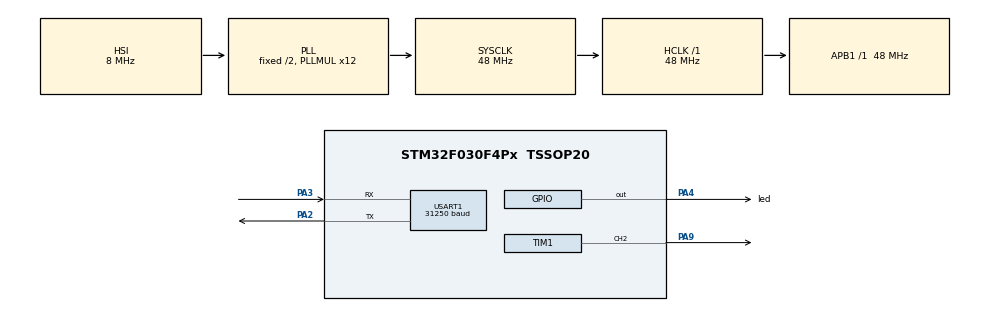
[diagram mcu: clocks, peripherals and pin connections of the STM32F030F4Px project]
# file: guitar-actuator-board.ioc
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Mcu.Family=STM32F0
USART1.BaudRate=31250
RCC.SYSCLKSource=RCC_SYSCLKSOURCE_PLLCLK
ProjectManager.StackSize=0x400
USART1.VirtualMode-Asynchronous=VM_ASYNC
PA3.Mode=Asynchronous
PA13.Signal=SYS_SWDIO
TIM1.Prescaler=1
PA4.PinState=GPIO_PIN_RESET
ProjectManager.TargetToolchain=STM32CubeIDE
RCC.HCLKFreq_Value=48000000
USART1.DataInvertParam=ADVFEATURE_DATAINV_DISABLE
PA9.Signal=S_TIM1_CH2
TIM1.Channel-PWM\ Generation2\ CH2=TIM_CHANNEL_2
RCC.AHBFreq_Value=48000000
board=custom
RCC.PLLMUL=RCC_PLL_MUL12
SH.S_TIM1_CH2.0=TIM1_CH2,PWM Generation2 CH2
PA14.Mode=Serial_Wire
USART1.OverrunDisableParam=ADVFEATURE_OVERRUN_DISABLE
PA13.Mode=Serial_Wire
Mcu.Name=STM32F030F4Px
PA2.Signal=USART1_TX
PA4.Signal=GPIO_Output
RCC.SYSCLKFreq_VALUE=48000000
Mcu.Package=TSSOP20
PA14.Signal=SYS_SWCLK
ProjectManager.HeapSize=0x200
RCC.APB1TimFreq_Value=48000000
PA2.Mode=Asynchronous
TIM1.Period=65535
RCC.APB1Freq_Value=48000000
PA4.GPIO_Label=led
PA3.Signal=USART1_RX

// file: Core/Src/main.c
/* USER CODE BEGIN Header */
/**
  ******************************************************************************
  * @file           : main.c
  * @brief          : Main program body
  ******************************************************************************
  * @attention
  *
  * <h2><center>&copy; Copyright (c) 2020 STMicroelectronics.
  * All rights reserved.</center></h2>
  *
  * This software component is licensed by ST under BSD 3-Clause license,
  * the "License"; You may not use this file except in compliance with the
  * License. You may obtain a copy of the License at:
  *                        opensource.org/licenses/BSD-3-Clause
  *
  ******************************************************************************
  */
/* USER CODE END Header */
#include "main.h"

/* USER CODE BEGIN Includes */
#include "lukes-code/midi.h"
#include "lukes-code/strummer.h"
#include "lukes-code/config.h"
#include "lukes-code/led.h"
/* USER CODE END Includes */

TIM_HandleTypeDef htim1;

UART_HandleTypeDef huart1;

/* USER CODE BEGIN PV */
uint8_t message = 'a';
/* USER CODE END PV */

void SystemClock_Config(void);
static void MX_GPIO_Init(void);
static void MX_TIM1_Init(void);
static void MX_USART1_UART_Init(void);
/* USER CODE BEGIN PFP */
void toggleLED();
void blink(int x);
/* USER CODE END PFP */

/* USER CODE BEGIN 0 */
extern message_state_t state;
extern config_t ram_config;
/* USER CODE END 0 */

int main(void)
{
  /* USER CODE BEGIN 1 */
//Write_Flash();
  /* USER CODE END 1 */

  /* MCU Configuration--------------------------------------------------------*/

  /* Reset of all peripherals, Initializes the Flash interface and the Systick. */
  HAL_Init();

  /* Configure the system clock */
  SystemClock_Config();

  /* Initialize all configured peripherals */
  MX_GPIO_Init();
  MX_TIM1_Init();
  MX_USART1_UART_Init();
  /* USER CODE BEGIN 2 */
  HAL_TIM_PWM_Start(&htim1, TIM_CHANNEL_2);
  /* USER CODE END 2 */

  /* Infinite loop */
  /* USER CODE BEGIN WHILE */
  init_config();
  blink(3);

  // blink extra to indicate if note is not assigned
  if (ram_config.note == 0) {
	  blink(7);
  }

  toggle_led();
  strum();

  while (1)
  {
    /* USER CODE END WHILE */

    /* USER CODE BEGIN 3 */
	if(HAL_UART_Receive(&huart1, &message, 1, HAL_MAX_DELAY) == HAL_OK) {
		MIDI_process(message);
	}

	if (state == STATE_PLAY_NOTE) {
		toggle_led();
		strum();
		state = STATE_READ_KEY;
	}
  }
  /* USER CODE END 3 */
}

void SystemClock_Config(void)
{
  RCC_OscInitTypeDef RCC_OscInitStruct = {0};
  RCC_ClkInitTypeDef RCC_ClkInitStruct = {0};
  RCC_PeriphCLKInitTypeDef PeriphClkInit = {0};

  /** Initializes the RCC Oscillators according to the specified parameters
  * in the RCC_OscInitTypeDef structure.
  */
  RCC_OscInitStruct.OscillatorType = RCC_OSCILLATORTYPE_HSI;
  RCC_OscInitStruct.HSIState = RCC_HSI_ON;
  RCC_OscInitStruct.HSICalibrationValue = RCC_HSICALIBRATION_DEFAULT;
  RCC_OscInitStruct.PLL.PLLState = RCC_PLL_ON;
  RCC_OscInitStruct.PLL.PLLSource = RCC_PLLSOURCE_HSI;
  RCC_OscInitStruct.PLL.PLLMUL = RCC_PLL_MUL12;
  RCC_OscInitStruct.PLL.PREDIV = RCC_PREDIV_DIV1;
  if (HAL_RCC_OscConfig(&RCC_OscInitStruct) != HAL_OK)
  {
    Error_Handler();
  }
  /** Initializes the CPU, AHB and APB buses clocks
  */
  RCC_ClkInitStruct.ClockType = RCC_CLOCKTYPE_HCLK|RCC_CLOCKTYPE_SYSCLK
                              |RCC_CLOCKTYPE_PCLK1;
  RCC_ClkInitStruct.SYSCLKSource = RCC_SYSCLKSOURCE_PLLCLK;
  RCC_ClkInitStruct.AHBCLKDivider = RCC_SYSCLK_DIV1;
  RCC_ClkInitStruct.APB1CLKDivider = RCC_HCLK_DIV1;

  if (HAL_RCC_ClockConfig(&RCC_ClkInitStruct, FLASH_LATENCY_1) != HAL_OK)
  {
    Error_Handler();
  }
  PeriphClkInit.PeriphClockSelection = RCC_PERIPHCLK_USART1;
  PeriphClkInit.Usart1ClockSelection = RCC_USART1CLKSOURCE_PCLK1;
  if (HAL_RCCEx_PeriphCLKConfig(&PeriphClkInit) != HAL_OK)
  {
    Error_Handler();
  }
}

static void MX_TIM1_Init(void)
{

  TIM_MasterConfigTypeDef sMasterConfig = {0};
  TIM_OC_InitTypeDef sConfigOC = {0};
  TIM_BreakDeadTimeConfigTypeDef sBreakDeadTimeConfig = {0};

  htim1.Instance = TIM1;
  htim1.Init.Prescaler = 1;
  htim1.Init.CounterMode = TIM_COUNTERMODE_UP;
  htim1.Init.Period = 65535;
  htim1.Init.ClockDivision = TIM_CLOCKDIVISION_DIV1;
  htim1.Init.RepetitionCounter = 0;
  htim1.Init.AutoReloadPreload = TIM_AUTORELOAD_PRELOAD_DISABLE;
  if (HAL_TIM_PWM_Init(&htim1) != HAL_OK)
  {
    Error_Handler();
  }
  sMasterConfig.MasterOutputTrigger = TIM_TRGO_RESET;
  sMasterConfig.MasterSlaveMode = TIM_MASTERSLAVEMODE_DISABLE;
  if (HAL_TIMEx_MasterConfigSynchronization(&htim1, &sMasterConfig) != HAL_OK)
  {
    Error_Handler();
  }
  sConfigOC.OCMode = TIM_OCMODE_PWM1;
  sConfigOC.Pulse = 0;
  sConfigOC.OCPolarity = TIM_OCPOLARITY_HIGH;
  sConfigOC.OCNPolarity = TIM_OCNPOLARITY_HIGH;
  sConfigOC.OCFastMode = TIM_OCFAST_DISABLE;
  sConfigOC.OCIdleState = TIM_OCIDLESTATE_RESET;
  sConfigOC.OCNIdleState = TIM_OCNIDLESTATE_RESET;
  if (HAL_TIM_PWM_ConfigChannel(&htim1, &sConfigOC, TIM_CHANNEL_2) != HAL_OK)
  {
    Error_Handler();
  }
  sBreakDeadTimeConfig.OffStateRunMode = TIM_OSSR_DISABLE;
  sBreakDeadTimeConfig.OffStateIDLEMode = TIM_OSSI_DISABLE;
  sBreakDeadTimeConfig.LockLevel = TIM_LOCKLEVEL_OFF;
  sBreakDeadTimeConfig.DeadTime = 0;
  sBreakDeadTimeConfig.BreakState = TIM_BREAK_DISABLE;
  sBreakDeadTimeConfig.BreakPolarity = TIM_BREAKPOLARITY_HIGH;
  sBreakDeadTimeConfig.AutomaticOutput = TIM_AUTOMATICOUTPUT_DISABLE;
  if (HAL_TIMEx_ConfigBreakDeadTime(&htim1, &sBreakDeadTimeConfig) != HAL_OK)
  {
    Error_Handler();
  }
  HAL_TIM_MspPostInit(&htim1);

}

static void MX_USART1_UART_Init(void)
{

  huart1.Instance = USART1;
  huart1.Init.BaudRate = 31250;
  huart1.Init.WordLength = UART_WORDLENGTH_8B;
  huart1.Init.StopBits = UART_STOPBITS_1;
  huart1.Init.Parity = UART_PARITY_NONE;
  huart1.Init.Mode = UART_MODE_TX_RX;
  huart1.Init.HwFlowCtl = UART_HWCONTROL_NONE;
  huart1.Init.OverSampling = UART_OVERSAMPLING_16;
  huart1.Init.OneBitSampling = UART_ONE_BIT_SAMPLE_DISABLE;
  huart1.AdvancedInit.AdvFeatureInit = UART_ADVFEATURE_RXOVERRUNDISABLE_INIT;
  huart1.AdvancedInit.OverrunDisable = UART_ADVFEATURE_OVERRUN_DISABLE;
  if (HAL_UART_Init(&huart1) != HAL_OK)
  {
    Error_Handler();
  }

}

static void MX_GPIO_Init(void)
{
  GPIO_InitTypeDef GPIO_InitStruct = {0};

  /* GPIO Ports Clock Enable */
  __HAL_RCC_GPIOA_CLK_ENABLE();

  /*Configure GPIO pin Output Level */
  HAL_GPIO_WritePin(led_GPIO_Port, led_Pin, GPIO_PIN_RESET);

  /*Configure GPIO pin : led_Pin */
  GPIO_InitStruct.Pin = led_Pin;
  GPIO_InitStruct.Mode = GPIO_MODE_OUTPUT_PP;
  GPIO_InitStruct.Pull = GPIO_NOPULL;
  GPIO_InitStruct.Speed = GPIO_SPEED_FREQ_LOW;
  HAL_GPIO_Init(led_GPIO_Port, &GPIO_InitStruct);

}

void Error_Handler(void)
{
}

/************************ (C) COPYRIGHT STMicroelectronics *****END OF FILE****/
